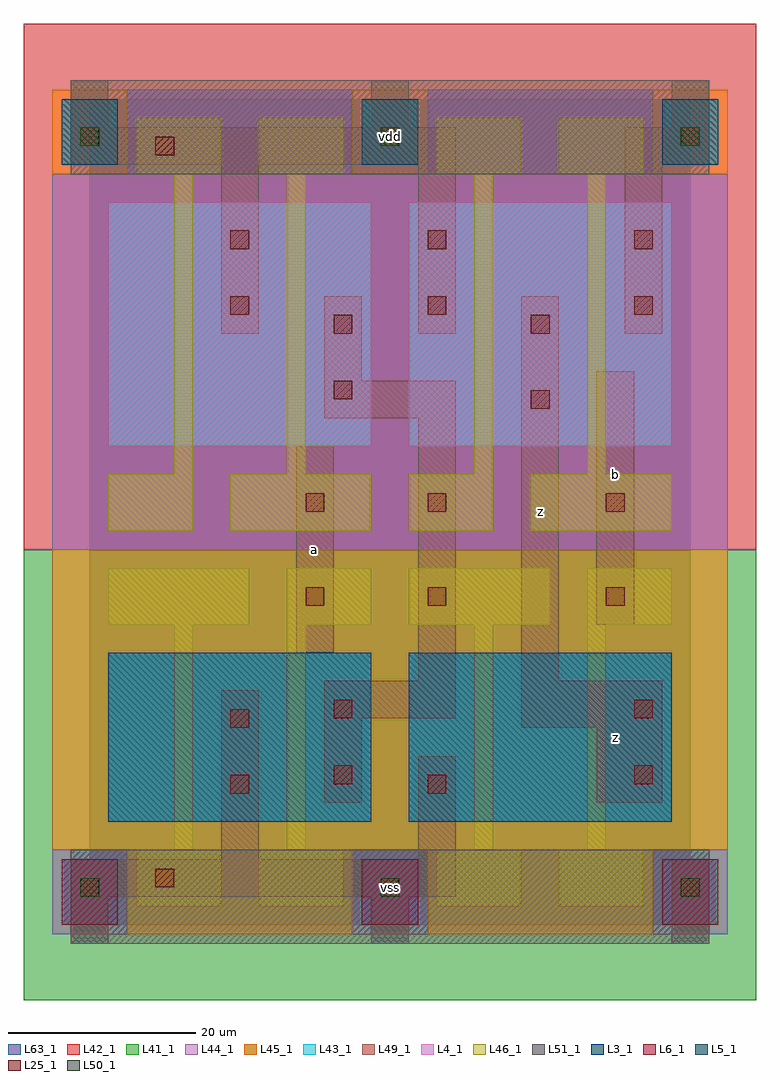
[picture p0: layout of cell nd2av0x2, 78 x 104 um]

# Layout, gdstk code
import gdstk
lib = gdstk.Library(unit=1e-6, precision=1e-09)
def R(c, l, rs):  # rectangles x0, y0, x1, y1
    for r in rs: c.add(gdstk.rectangle(r[:2], r[2:], *l))
def A(c, l, x, y, w, h, nx, ny, dx, dy):  # array of equal rectangles
    R(c, l, [(x+i*dx, y+j*dy, x+i*dx+w, y+j*dy+h) for i in range(nx) for j in range(ny)])
L3_1 = (3, 1)
L4_1 = (4, 1)
L5_1 = (5, 1)
L6_1 = (6, 1)
L25_1 = (25, 1)
L41_1 = (41, 1)
L42_1 = (42, 1)
L43_1 = (43, 1)
L44_1 = (44, 1)
L45_1 = (45, 1)
L46_1 = (46, 1)
L49_1 = (49, 1)
L50_1 = (50, 1)
L51_1 = (51, 1)
L63_1 = (63, 1)

nd2av0x2 = lib.new_cell('nd2av0x2')
R(nd2av0x2, L3_1, [(2,11,30,29), (34,11,62,29)])
R(nd2av0x2, L4_1, [(2,51,30,77), (34,51,62,77)])
A(nd2av0x2, L5_1, -3, 81, 6, 7, 3, 1, 32, 0)
R(nd2av0x2, L6_1, [(-3,0,3,7), (-3,0,3,7), (29,0,35,7), (29,0,35,7), (61,0,67,7), (61,0,67,7)])
A(nd2av0x2, L25_1, -1, 3, 2, 2, 3, 2, 32, 80)
R(nd2av0x2, L25_1, [(7,4,9,6), (15,14,17,16), (36,14,38,16), (26,15,28,17), (58,15,60,17), (15,21,17,23), (26,22,28,24), (58,22,60,24), (23,34,25,36), (36,34,38,36), (55,34,57,36), (23,44,25,46), (36,44,38,46), (55,44,57,46), (47,55,49,57), (26,56,28,58), (26,63,28,65), (47,63,49,65), (15,65,17,67), (36,65,38,67), (58,65,60,67), (15,72,17,74), (36,72,38,74), (58,72,60,74), (7,82,9,84)])
R(nd2av0x2, L41_1, [(-7,-8,71,40)])
R(nd2av0x2, L42_1, [(-7,40,71,96)])
A(nd2av0x2, L43_1, -3, 0, 6, 7, 3, 2, 32, 81)
R(nd2av0x2, L43_1, [(2,11,30,29), (34,11,62,29), (2,51,30,77), (34,51,62,77)])
A(nd2av0x2, L44_1, -4, -1, 8, 9, 3, 1, 32, 0)
R(nd2av0x2, L44_1, [(-4,40,68,80), (4,80,28,89), (36,80,60,89)])
A(nd2av0x2, L45_1, -4, 80, 8, 9, 3, 1, 32, 0)
R(nd2av0x2, L45_1, [(4,-1,28,8), (36,-1,60,8), (-4,8,68,40)])
R(nd2av0x2, L46_1, [(5,2,14,8), (18,2,27,8), (37,2,46,8), (50,2,59,8), (9,8,11,32), (21,8,23,32), (41,8,43,32), (53,8,55,32), (2,32,17,38), (21,32,30,38), (34,32,49,38), (53,32,62,38), (2,42,11,48), (15,42,30,48), (34,42,43,48), (47,42,62,48), (9,48,11,80), (21,48,23,80), (41,48,43,80), (53,48,55,80), (5,80,14,86), (18,80,27,86), (37,80,46,86), (50,80,59,86)])
A(nd2av0x2, L49_1, -2, 85, 4, 5, 3, 1, 32, 0)
R(nd2av0x2, L49_1, [(-2,-2,2,3), (30,-2,34,3), (62,-2,66,7), (-2,3,39,7), (14,7,18,25), (35,7,39,18), (25,13,29,22), (54,13,61,21), (46,21,61,26), (25,22,39,26), (35,26,39,54), (46,26,50,67), (22,29,26,51), (54,32,58,59), (25,54,39,58), (25,58,29,67), (14,63,18,81), (35,63,39,81), (57,63,61,81), (-2,81,39,85), (57,81,66,85)])
A(nd2av0x2, L50_1, -1, 3, 2, 2, 3, 2, 32, 80)
R(nd2av0x2, L51_1, [(-2,-2,66,8), (-2,80,66,90)])
R(nd2av0x2, L63_1, [(0,0,64,88)])
nd2av0x2.add(gdstk.Label('a', (24,40), layer=49, texttype=1))
nd2av0x2.add(gdstk.Label('z', (56,20), layer=49, texttype=1))
nd2av0x2.add(gdstk.Label('b', (56,48), layer=49, texttype=1))
nd2av0x2.add(gdstk.Label('z', (48,44), layer=49, texttype=1))
nd2av0x2.add(gdstk.Label('vss', (32,4), layer=51, texttype=1))
nd2av0x2.add(gdstk.Label('vdd', (32,84), layer=51, texttype=1))

lib.write_gds('nd2av0x2.gds')
